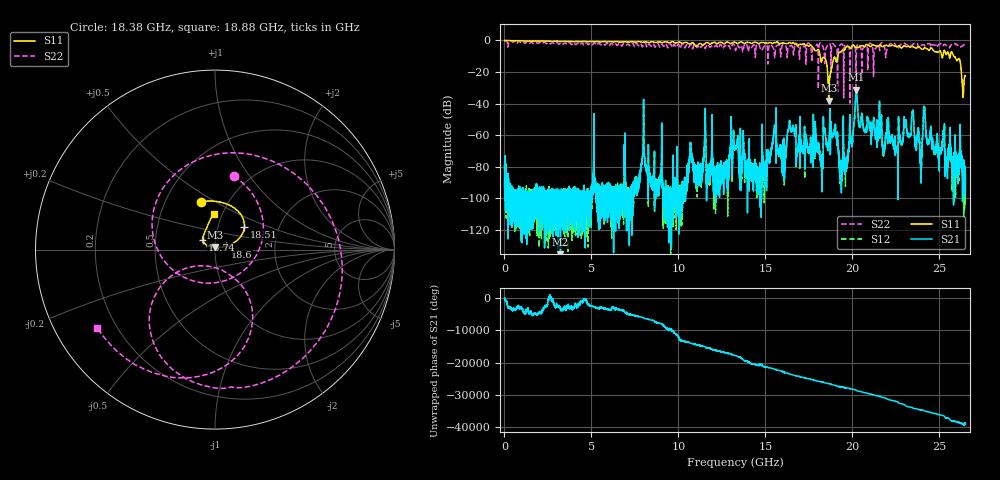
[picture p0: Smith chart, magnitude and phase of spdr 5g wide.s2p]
!Agilent Technologies,N5230A,MY46401289,A.07.50.67
!Agilent N5230A: A.07.50.67
!Date: Tuesday, January 05, 2021 01:07:58
!Correction: S11(Full 2 Port(1,2))
!S21(Full 2 Port(1,2))
!S12(Full 2 Port(1,2))
!S22(Full 2 Port(1,2))
!S2P File: Measurements: S11, S21, S12, S22:
# Hz S  MA  R 50
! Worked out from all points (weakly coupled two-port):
!   16001 points, 10 MHz to 26.5 GHz, reference 50 ohm
!   highest |S21| = -31.25 dB at 20.23 GHz (marker M1); lowest = -144.9 dB at 3.222 GHz (marker M2)
!   lowest |S11| = -38.2 dB at 18.64 GHz (marker M3), VSWR 1.03, Z = 50 + j1.24 ohm
!   |S11| at or under -10 dB: 18.15 GHz to 19.17 GHz (1.017 GHz wide, 5.45 % of centre); 25.56311 GHz to 25.63101 GHz (67.9 MHz wide, 0.265 % of centre); 25.83 GHz to end of sweep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
!   |S22| runs from -39.7 to -0.2 dB; largest |S21 - S12| = 0.001
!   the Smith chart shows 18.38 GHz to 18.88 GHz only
!   S11 on the Smith chart (normalised r, x): 18.38 GHz: 0.75, +0.43; 18.51 GHz: 1.34, +0.35; 18.6 GHz: 1.12, +0.04; 18.74 GHz: 0.87, +0.10; 18.88 GHz: 0.91, +0.38
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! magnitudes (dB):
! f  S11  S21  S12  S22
! 10 MHz  -0.1  -79.3  -82.8  -0.4
! 3.222 GHz  -0.8  -144.9  -110.1  -1.6
! 4.426 GHz  -0.8  -104.7  -103.5  -1.7
! 8.841 GHz  -1.0  -92.9  -90.4  -2.3
! 13.26 GHz  -1.2  -68.9  -68.4  -5.3
! 14.67 GHz  -2.0  -89.5  -88.0  -3.5
! 15.52 GHz  -1.4  -54.3  -54.3  -8.7
! 16.06 GHz  -1.7  -69.2  -69.8  -2.6
! 16.47 GHz  -2.0  -57.3  -57.4  -3.5
! 17.67 GHz  -3.6  -62.6  -62.7  -12.6
! 18.38 GHz  -11.1  -57.9  -57.8  -7.5
! 18.51 GHz  -13.7  -64.8  -64.4  -4.6
! 18.6 GHz  -24.2  -67.1  -67.8  -2.8
! 18.64 GHz  -38.2  -65.2  -65.0  -2.4
! 18.74 GHz  -21.0  -70.2  -71.4  -3.0
! 18.88 GHz  -13.9  -60.8  -60.6  -2.1
! 19.65 GHz  -4.1  -78.1  -79.2  -2.7
! 20.23 GHz  -4.5  -31.3  -31.0  -9.0
! 22.09 GHz  -3.5  -54.5  -54.5  -3.5
! 23.93 GHz  -5.1  -77.7  -75.6  -3.3
! 24.16 GHz  -4.6  -42.5  -42.7  -3.6
! 26.5 GHz  -22.8  -84.3  -87.1  -2.2
